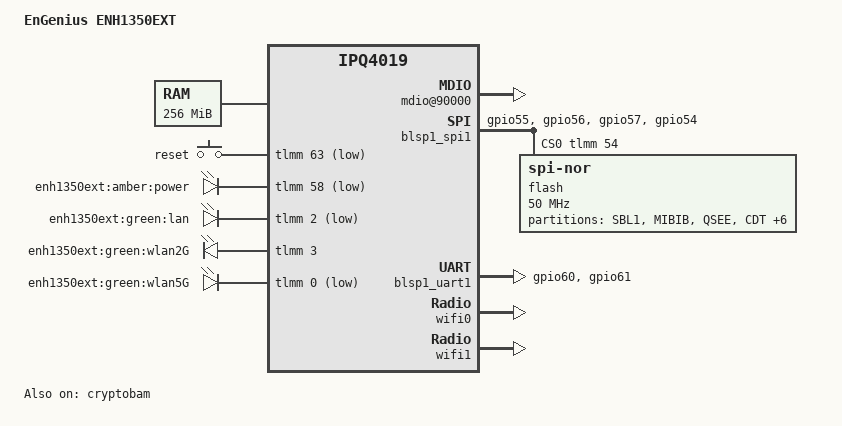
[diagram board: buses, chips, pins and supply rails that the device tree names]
// SPDX-License-Identifier: GPL-2.0-or-later OR MIT

#include "qcom-ipq4019.dtsi"
#include <dt-bindings/gpio/gpio.h>
#include <dt-bindings/input/input.h>
#include <dt-bindings/soc/qcom,tcsr.h>

/ {
	model = "EnGenius ENH1350EXT";
	compatible = "engenius,enh1350ext";

	memory {
		device_type = "memory";
		reg = <0x80000000 0x10000000>;
	};

	aliases {
		led-boot = &power;
		led-failsafe = &power;
		led-running = &power;
		led-upgrade = &power;
	};

	soc {
		rng@22000 {
			status = "okay";
		};

		mdio@90000 {
			status = "okay";
		};

		ess-psgmii@98000 {
			status = "okay";
		};

		tcsr@1949000 {
			compatible = "qcom,tcsr";
			reg = <0x1949000 0x100>;
			qcom,wifi_glb_cfg = <TCSR_WIFI_GLB_CFG>;
		};

		ess_tcsr@1953000 {
			compatible = "qcom,tcsr";
			reg = <0x1953000 0x1000>;
			qcom,ess-interface-select = <TCSR_ESS_PSGMII>;
		};

		tcsr@1957000 {
			compatible = "qcom,tcsr";
			reg = <0x1957000 0x100>;
			qcom,wifi_noc_memtype_m0_m2 = <TCSR_WIFI_NOC_MEMTYPE_M0_M2>;
		};

		crypto@8e3a000 {
			status = "okay";
		};

		watchdog@b017000 {
			status = "okay";
		};

		ess-switch@c000000 {
			status = "okay";
		};

		edma@c080000 {
			status = "okay";
		};
	};

	buttons {
		compatible = "gpio-keys";

		reset {
			label = "reset";
			linux,code = <KEY_RESTART>;
			gpios = <&tlmm 63 GPIO_ACTIVE_LOW>;
		};
	};

	leds {
		compatible = "gpio-leds";

		power: power {
			label = "enh1350ext:amber:power";
			gpios = <&tlmm 58 GPIO_ACTIVE_LOW>;
		};

		lan {
			label = "enh1350ext:green:lan";
			gpios = <&tlmm 2 GPIO_ACTIVE_LOW>;
		};

		wlan2G {
			label = "enh1350ext:green:wlan2G";
			gpios = <&tlmm 3 GPIO_ACTIVE_HIGH>;
		};

		wlan5G {
			label = "enh1350ext:green:wlan5G";
			gpios = <&tlmm 0 GPIO_ACTIVE_LOW>;
		};
	};
};

&cryptobam {
	status = "okay";
};

&blsp_dma {
	status = "okay";
};

&tlmm {
	serial_pins: serial_pinmux {
		mux {
			pins = "gpio60", "gpio61";
			function = "blsp_uart0";
			bias-disable;
		};
	};

	spi_0_pins: spi_0_pinmux {
		mux {
			function = "blsp_spi0";
			pins = "gpio55", "gpio56", "gpio57";
			drive-strength = <12>;
			bias-disable;
		};

		mux_cs {
			function = "gpio";
			pins = "gpio54";
			drive-strength = <2>;
			bias-disable;
			output-high;
		};
	};
};

&blsp1_spi1 { /* BLSP1 QUP1 */
	pinctrl-0 = <&spi_0_pins>;
	pinctrl-names = "default";
	status = "okay";
	cs-gpios = <&tlmm 54 GPIO_ACTIVE_HIGH>;

	flash@0 {
		#address-cells = <1>;
		#size-cells = <0>;
		compatible = "jedec,spi-nor";
		reg = <0>;
		spi-max-frequency = <50000000>;
		m25p,fast-read;

		partitions {
			compatible = "fixed-partitions";
			#address-cells = <1>;
			#size-cells = <1>;

			partition@0 {
				label = "SBL1";
				reg = <0x00000000 0x00040000>;
				read-only;
			};
			partition@40000 {
				label = "MIBIB";
				reg = <0x00040000 0x00020000>;
				read-only;
			};
			partition@60000 {
				label = "QSEE";
				reg = <0x00060000 0x00060000>;
				read-only;
			};
			partition@c0000 {
				label = "CDT";
				reg = <0x000c0000 0x00010000>;
				read-only;
			};
			partition@d0000 {
				label = "DDRPARAMS";
				reg = <0x000d0000 0x00010000>;
				read-only;
			};
			partition@e0000 {
				label = "APPSBLENV"; /* uboot env*/
				reg = <0x000e0000 0x00010000>;
				read-only;
			};
			partition@f0000 {
				label = "APPSBL"; /* uboot */
				reg = <0x000f0000 0x00080000>;
				read-only;
			};
			partition@170000 {
				label = "ART";
				reg = <0x00170000 0x00010000>;
				read-only;
			};
			partition@180000 {
				label = "userconfig";
				reg = <0x00180000 0x00080000>;
				read-only;
			};
			partition@200000 {
				compatible = "denx,fit";
				label = "firmware";
				reg = <0x00200000 0x1e00000>;
			};
		};
	};
};

&blsp1_uart1 {
	pinctrl-0 = <&serial_pins>;
	pinctrl-names = "default";
	status = "okay";
};

&wifi0 {
	status = "okay";
	qcom,ath10k-calibration-variant = "EnGenius-ENH1350EXT";
};

&wifi1 {
	status = "okay";
	qcom,ath10k-calibration-variant = "EnGenius-ENH1350EXT";
};
